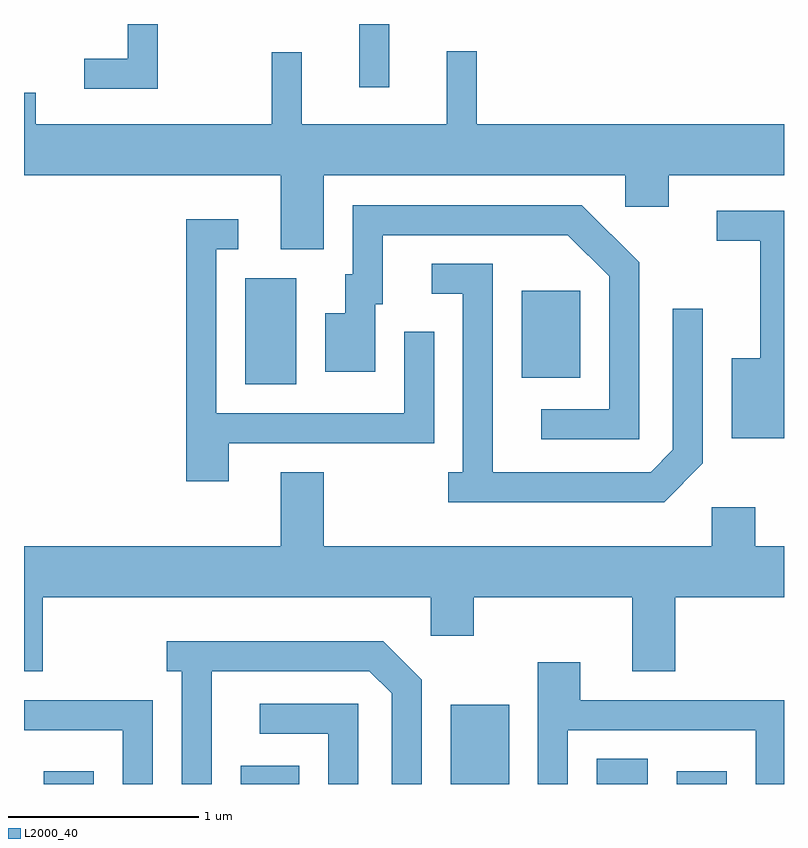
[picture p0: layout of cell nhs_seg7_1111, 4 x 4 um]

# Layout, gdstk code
import gdstk
lib = gdstk.Library(unit=1e-6, precision=1e-09)
def R(c, l, rs):  # rectangles x0, y0, x1, y1
    for r in rs: c.add(gdstk.rectangle(r[:2], r[2:], *l))
def P(c, l, *ps):  # polygons
    for p in ps: c.add(gdstk.Polygon(p, *l))
L2000_40 = (2000, 40)

nhs_seg7_1111 = lib.new_cell('nhs_seg7_1111')
R(nhs_seg7_1111, L2000_40, [(219.716,1682.252,219.979,1682.319), (220.751,1682.252,221.059,1682.349), (221.856,1682.252,222.164,1682.669), (222.626,1682.252,222.894,1682.384), (223.046,1682.252,223.309,1682.319), (220.776,1684.356,221.044,1684.914), (222.231,1684.391,222.539,1684.849), (221.376,1685.918,221.534,1686.252), (220.836,1686.251,221.034,1686.252)])
P(nhs_seg7_1111, L2000_40, [(220.314,1686.252),(220.156,1686.252),(220.156,1686.069),(219.928,1686.069),(219.928,1685.911),(220.314,1685.911)],
  [(221.189,1685.456),(222.776,1685.456),(222.776,1685.291),(223.004,1685.291),(223.004,1685.456),(223.611,1685.456),(223.611,1685.724),(221.994,1685.724),(221.994,1686.108),(221.836,1686.108),(221.836,1685.724),(221.074,1685.724),(221.074,1686.103),(220.916,1686.103),(220.916,1685.724),(219.674,1685.724),(219.674,1685.889),(219.611,1685.889),(219.611,1685.456),(220.961,1685.456),(220.961,1685.066),(221.189,1685.066)],
  [(222.849,1684.997),(222.547,1685.299),(221.341,1685.299),(221.341,1684.934),(221.301,1684.934),(221.301,1684.729),(221.196,1684.729),(221.196,1684.421),(221.459,1684.421),(221.459,1684.776),(221.499,1684.776),(221.499,1685.141),(222.474,1685.141),(222.691,1684.924),(222.691,1684.224),(222.333,1684.224),(222.333,1684.066),(222.849,1684.066)],
  [(223.611,1685.269),(223.258,1685.269),(223.258,1685.111),(223.486,1685.111),(223.486,1684.494),(223.336,1684.494),(223.336,1684.071),(223.611,1684.071)],
  [(220.689,1684.046),(221.769,1684.046),(221.769,1684.633),(221.611,1684.633),(221.611,1684.204),(220.624,1684.204),(220.624,1685.066),(220.738,1685.066),(220.738,1685.224),(220.466,1685.224),(220.466,1683.846),(220.689,1683.846)],
  [(223.184,1683.939),(223.184,1684.753),(223.026,1684.753),(223.026,1684.012),(222.909,1683.894),(222.079,1683.894),(222.079,1684.989),(221.758,1684.989),(221.758,1684.831),(221.921,1684.831),(221.921,1683.894),(221.843,1683.894),(221.843,1683.736),(222.982,1683.736)],
  [(219.709,1683.236),(221.751,1683.236),(221.751,1683.031),(221.979,1683.031),(221.979,1683.236),(222.811,1683.236),(222.811,1682.846),(223.039,1682.846),(223.039,1683.236),(223.611,1683.236),(223.611,1683.504),(223.459,1683.504),(223.459,1683.709),(223.231,1683.709),(223.231,1683.504),(221.189,1683.504),(221.189,1683.894),(220.961,1683.894),(220.961,1683.504),(219.611,1683.504),(219.611,1682.846),(219.709,1682.846)],
  [(220.599,1682.846),(221.429,1682.846),(221.546,1682.729),(221.546,1682.252),(221.704,1682.252),(221.704,1682.802),(221.502,1683.004),(220.363,1683.004),(220.363,1682.846),(220.441,1682.846),(220.441,1682.252),(220.599,1682.252)],
  [(222.474,1682.536),(223.461,1682.536),(223.461,1682.252),(223.611,1682.252),(223.611,1682.694),(222.539,1682.694),(222.539,1682.894),(222.316,1682.894),(222.316,1682.252),(222.474,1682.252)],
  [(220.289,1682.694),(219.611,1682.694),(219.611,1682.536),(220.131,1682.536),(220.131,1682.252),(220.289,1682.252)],
  [(221.369,1682.674),(220.853,1682.674),(220.853,1682.516),(221.211,1682.516),(221.211,1682.252),(221.369,1682.252)])

lib.write_gds('nhs_seg7_1111.gds')
